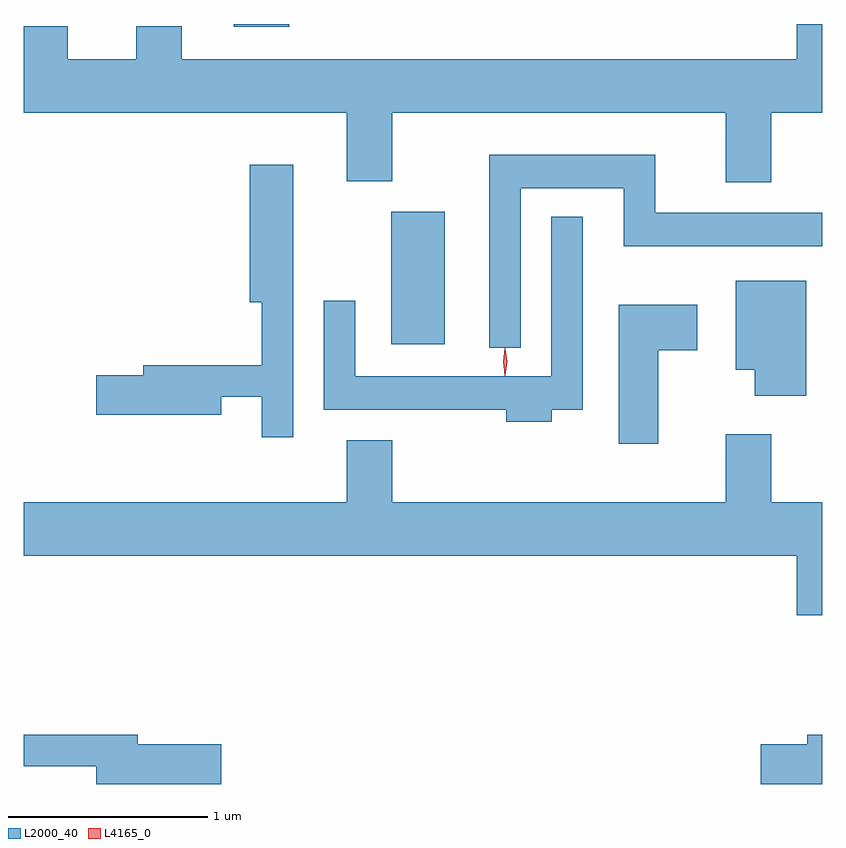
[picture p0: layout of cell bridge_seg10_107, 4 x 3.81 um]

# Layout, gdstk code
import gdstk
lib = gdstk.Library(unit=1e-6, precision=1e-09)
def R(c, l, rs):  # rectangles x0, y0, x1, y1
    for r in rs: c.add(gdstk.rectangle(r[:2], r[2:], *l))
def P(c, l, *ps):  # polygons
    for p in ps: c.add(gdstk.Polygon(p, *l))
L2000_40 = (2000, 40)
L4165_0 = (4165, 0)

bridge_seg10_107 = lib.new_cell('bridge_seg10_107')
R(bridge_seg10_107, L2000_40, [(1591.666,2130.516,1591.934,2131.179), (1590.876,2132.106,1591.154,2132.12)])
P(bridge_seg10_107, L2000_40, [(1593.569,2131.676),(1593.824,2131.676),(1593.824,2132.12),(1593.696,2132.12),(1593.696,2131.944),(1590.614,2131.944),(1590.614,2132.109),(1590.386,2132.109),(1590.386,2131.944),(1590.044,2131.944),(1590.044,2132.109),(1589.824,2132.109),(1589.824,2131.676),(1591.441,2131.676),(1591.441,2131.331),(1591.669,2131.331),(1591.669,2131.676),(1593.341,2131.676),(1593.341,2131.326),(1593.569,2131.326)],
  [(1592.314,2131.296),(1592.831,2131.296),(1592.831,2131.006),(1593.824,2131.006),(1593.824,2131.174),(1592.989,2131.174),(1592.989,2131.464),(1592.156,2131.464),(1592.156,2130.498),(1592.314,2130.498)],
  [(1591.174,2131.414),(1590.956,2131.414),(1590.956,2130.726),(1591.016,2130.726),(1591.016,2130.409),(1590.421,2130.409),(1590.421,2130.359),(1590.186,2130.359),(1590.186,2130.161),(1590.814,2130.161),(1590.814,2130.251),(1591.016,2130.251),(1591.016,2130.048),(1591.174,2130.048)],
  [(1592.469,2130.186),(1592.624,2130.186),(1592.624,2131.153),(1592.466,2131.153),(1592.466,2130.354),(1591.484,2130.354),(1591.484,2130.733),(1591.326,2130.733),(1591.326,2130.186),(1592.241,2130.186),(1592.241,2130.126),(1592.469,2130.126)],
  [(1593.744,2130.834),(1593.391,2130.834),(1593.391,2130.386),(1593.486,2130.386),(1593.486,2130.256),(1593.744,2130.256)],
  [(1593.004,2130.486),(1593.199,2130.486),(1593.199,2130.714),(1592.806,2130.714),(1592.806,2130.016),(1593.004,2130.016)],
  [(1593.824,2129.724),(1593.569,2129.724),(1593.569,2130.064),(1593.341,2130.064),(1593.341,2129.724),(1591.669,2129.724),(1591.669,2130.034),(1591.441,2130.034),(1591.441,2129.724),(1589.824,2129.724),(1589.824,2129.456),(1593.696,2129.456),(1593.696,2129.156),(1593.824,2129.156)],
  [(1593.824,2128.559),(1593.751,2128.559),(1593.751,2128.509),(1593.516,2128.509),(1593.516,2128.311),(1593.824,2128.311)],
  [(1590.814,2128.509),(1590.394,2128.509),(1590.394,2128.559),(1589.824,2128.559),(1589.824,2128.401),(1590.186,2128.401),(1590.186,2128.311),(1590.814,2128.311)])
P(bridge_seg10_107, L4165_0, [(1592.236,2130.36),(1592.227,2130.426),(1592.236,2130.492),(1592.236,2130.493),(1592.237,2130.492),(1592.247,2130.426),(1592.237,2130.36),(1592.237,2130.36)],
  [(1592.234,2130.357),(1592.225,2130.426),(1592.234,2130.496),(1592.235,2130.496),(1592.235,2130.496),(1592.245,2130.426),(1592.235,2130.357),(1592.235,2130.357)])

lib.write_gds('bridge_seg10_107.gds')
